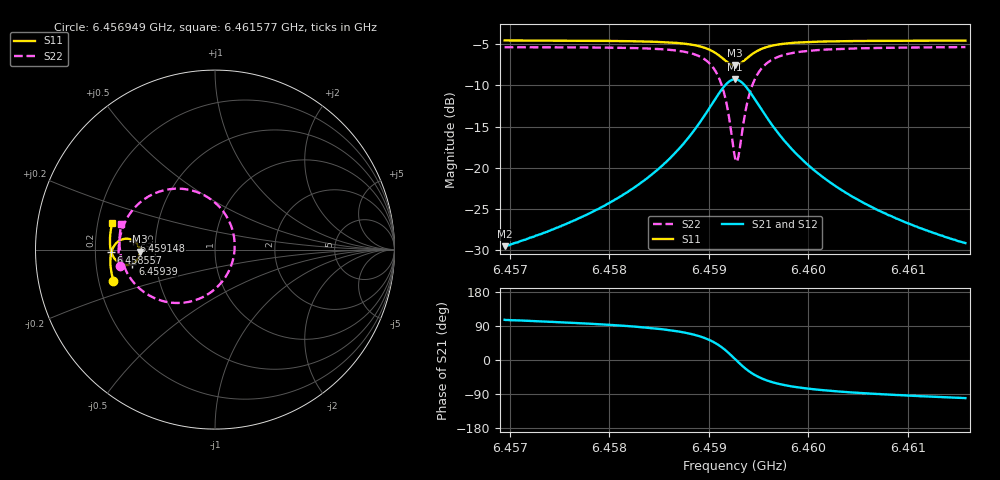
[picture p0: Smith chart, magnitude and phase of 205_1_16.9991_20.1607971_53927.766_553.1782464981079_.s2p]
#  HZ  S  RI  R  50.00
! Rohde & Schwarz Vector Network Analyzer
! Rohde-Schwarz,ZNB20-2Port,1311601062101988,3.16
! Created: UTC 3/20/2024, 11:01:13 PM
! freq[Hz]  re:S11  im:S11  re:S21  im:S21  re:S12  im:S12  re:S22  im:S22
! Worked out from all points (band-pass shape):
!   401 points, 6.456949 GHz to 6.461577 GHz, reference 50 ohm
!   highest |S21| = -9.26 dB at 6.459263 GHz (marker M1); lowest = -29.5 dB at 6.456949 GHz (marker M2)
!   |S21| within 3 dB of the highest: 6.459032 GHz to 6.459494 GHz (462 kHz wide, 0.00715 % of centre)
!   lowest |S11| = -7.6 dB at 6.459263 GHz (marker M3), VSWR 2.44, Z = 20.5 - j0.608 ohm
!   |S11| at or under -10 dB: nowhere
!   |S22| runs from -19.2 to -5.4 dB; largest |S21 - S12| = 0.014
!   S11 on the Smith chart (normalised r, x): 6.456949 GHz: 0.26, -0.14; 6.458557 GHz: 0.27, -0.01; 6.459148 GHz: 0.37, +0.05; 6.45939 GHz: 0.37, -0.07; 6.461577 GHz: 0.26, +0.12
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6.4569494e9  -0.5657 -0.1754  -0.00933 0.0323  -0.00739 0.0322  -0.531 -0.0903
6.4577245e9  -0.5801 -0.108  -0.00585 0.0502  -0.00344 0.0495  -0.5372 9.92e-05
6.4581063e9  -0.5832 -0.0701  -0.00107 0.0668  0.00207 0.0656  -0.5313 0.0592
6.4584996e9  -0.5797 -0.0238  0.0134 0.0983  0.0174 0.0958  -0.505 0.1454
6.4585575e9  -0.5779 -0.0158  0.0177 0.1054  0.0219 0.1023  -0.4971 0.162
6.4587657e9  -0.5651 0.0164  0.0451 0.1377  0.0492 0.1329  -0.4461 0.235
6.4589161e9  -0.5426 0.0428  0.0899 0.1684  0.0932 0.1618  -0.3635 0.3
6.4590549e9  -0.4989 0.0606  0.1769 0.1852  0.1778 0.1781  -0.2048 0.3396
6.4591475e9  -0.4543 0.0506  0.2669 0.1547  0.2671 0.1487  -0.0385 0.2904
6.4592169e9  -0.4253 0.0188  0.3275 0.0831  0.3295 0.0778  0.0771 0.1616
6.4592632e9  -0.4182 -0.0122  0.344 0.0154  0.3476 0.00853  0.1096 0.0354
6.4592748e9  -0.4187 -0.0203  0.3438 -0.00229  0.3475 -0.0098  0.1093 0.00178
6.4592979e9  -0.4222 -0.0358  0.3382 -0.037  0.342 -0.046  0.0984 -0.0637
6.4593442e9  -0.4377 -0.0619  0.3099 -0.0967  0.3121 -0.1085  0.0414 -0.1764
6.4593905e9  -0.4598 -0.0781  0.2681 -0.1376  0.2672 -0.1507  -0.0432 -0.2511
6.459483e9  -0.5031 -0.0848  0.1837 -0.1689  0.1778 -0.1803  -0.2109 -0.2975
6.4596334e9  -0.5467 -0.0645  0.0964 -0.1553  0.088 -0.1615  -0.3775 -0.2489
6.4597954e9  -0.5682 -0.0368  0.0516 -0.1277  0.0442 -0.1305  -0.4579 -0.1776
6.4600383e9  -0.5811 -0.00129  0.0226 -0.0965  0.017 -0.0971  -0.5058 -0.0955
6.460397e9  -0.5857 0.0411  0.00613 -0.0693  0.00224 -0.0688  -0.528 -0.0147
6.4608134e9  -0.5837 0.0827  -0.00111 -0.0516  -0.00401 -0.0508  -0.5323 0.0513
6.461577e9  -0.5717 0.1503  -0.00642 -0.0345  -0.00804 -0.0334  -0.5211 0.1413
